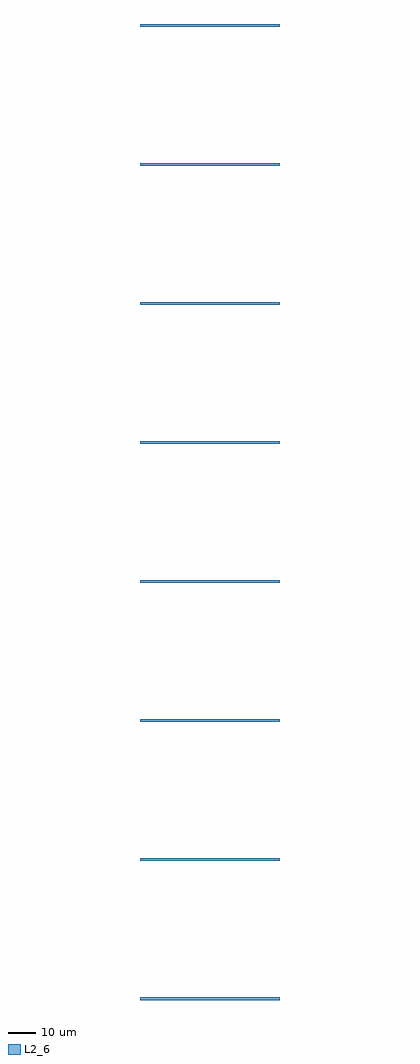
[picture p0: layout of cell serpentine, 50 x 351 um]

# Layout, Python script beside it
import gdspy

# Define the library and cell for the GDS layout
lib = gdspy.GdsLibrary()
cell = lib.new_cell('serpentine')

# Define the path width, number of turns, segment length, and starting position
path_width = 1  # in microns
turns = 15
segment_length = 50  # in microns
start_position = (0, 0)

# Define the layer and datatype
layer = 2
datatype = 6

# Create the serpentine pattern
for i in range(turns):
    # Calculate the start and end positions of the current segment
    start_x = start_position[0] + (i % 2) * segment_length
    start_y = start_position[1] + (i // 2) * segment_length
    end_x = start_x + (1 - 2 * (i % 2)) * segment_length
    end_y = start_y
    
    # Create the segment as a rectangle
    segment = gdspy.Rectangle((start_x, start_y - path_width / 2), (end_x, start_y + path_width / 2), layer=layer, datatype=datatype)
    
    # Add the segment to the cell
    cell.add(segment)

# Save the design to a GDS file
lib.write_gds('serpentine.gds')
